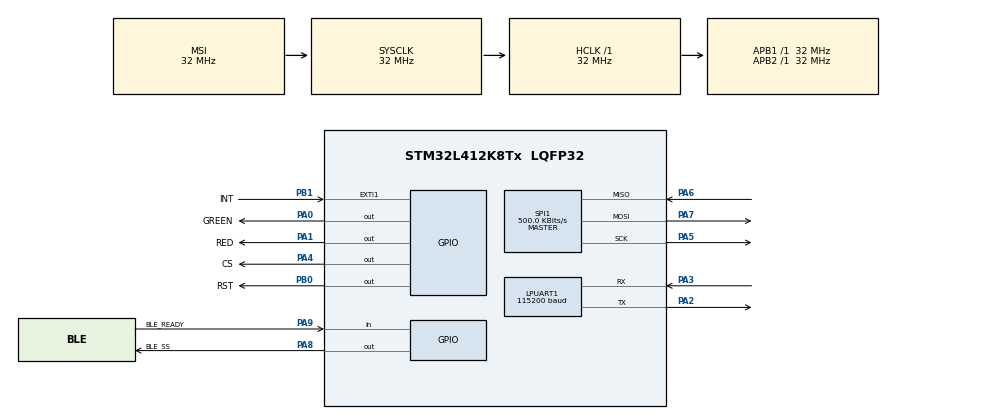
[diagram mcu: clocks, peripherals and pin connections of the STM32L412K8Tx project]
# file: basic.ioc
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LPUART1.BaudRate=115200
LPUART1.WordLength=UART_WORDLENGTH_8B
Mcu.Family=STM32L4
Mcu.Name=STM32L412K8Tx
Mcu.Package=LQFP32
NVIC.EXTI1_IRQn=true\:0\:0\:false\:false\:true\:true\:true
NVIC.PriorityGroup=NVIC_PRIORITYGROUP_4
NVIC.TIM2_IRQn=true\:0\:0\:false\:false\:true\:true\:true
NVIC.TIM6_IRQn=true\:0\:0\:false\:false\:true\:true\:true
PA0-CK_IN.GPIO_Label=GREEN
PA0-CK_IN.Signal=GPIO_Output
PA1.GPIO_Label=RED
PA1.Signal=GPIO_Output
PA13\ (JTMS/SWDIO).Mode=Serial_Wire
PA13\ (JTMS/SWDIO).Signal=SYS_JTMS-SWDIO
PA14\ (JTCK/SWCLK).Mode=Serial_Wire
PA14\ (JTCK/SWCLK).Signal=SYS_JTCK-SWCLK
PA2.Mode=Asynchronous
PA2.Signal=LPUART1_TX
PA3.Mode=Asynchronous
PA3.Signal=LPUART1_RX
PA4.GPIO_Label=CS
PA4.Signal=GPIO_Output
PA5.Mode=Full_Duplex_Master
PA5.Signal=SPI1_SCK
PA6.Mode=Full_Duplex_Master
PA6.Signal=SPI1_MISO
PA7.Mode=Full_Duplex_Master
PA7.Signal=SPI1_MOSI
PA8.GPIO_Label=BLE_SS
PA8.Signal=GPIO_Output
PA9.GPIO_Label=BLE_READY
PA9.Signal=GPIO_Input
PB0.GPIO_Label=RST
PB0.Signal=GPIO_Output
PB1.GPIO_Label=INT
PB1.Signal=GPXTI1
ProjectManager.HeapSize=0x200
ProjectManager.StackSize=0x400
ProjectManager.TargetToolchain=Makefile
RCC.ADCFreq_Value=32000000
RCC.AHBFreq_Value=32000000
RCC.APB1Freq_Value=32000000
RCC.APB1TimFreq_Value=32000000
RCC.APB2Freq_Value=32000000
RCC.APB2TimFreq_Value=32000000
RCC.CortexFreq_Value=32000000
RCC.HCLKFreq_Value=32000000
RCC.HSE_VALUE=8000000
RCC.HSI48_VALUE=48000000
RCC.HSI_VALUE=16000000
RCC.LSE_VALUE=32768
RCC.MSIClockRange=RCC_MSIRANGE_10
RCC.MSI_VALUE=32000000
RCC.SYSCLKFreq_VALUE=32000000
RCC.USBFreq_Value=32000000
RCC.VCOOutputFreq_Value=256000000
SPI1.BaudRatePrescaler=SPI_BAUDRATEPRESCALER_64
SPI1.CalculateBaudRate=500.0 KBits/s
SPI1.DataSize=SPI_DATASIZE_8BIT
SPI1.Direction=SPI_DIRECTION_2LINES
SPI1.Mode=SPI_MODE_MASTER
SPI1.NSSPMode=SPI_NSS_PULSE_ENABLE
SPI1.VirtualType=VM_MASTER
TIM2.Period=32000-1
TIM2.Prescaler=1000-1
TIM6.Period=1000-1
TIM6.Prescaler=32-1
VP_TIM2_VS_ClockSourceINT.Mode=Internal
VP_TIM6_VS_ClockSourceINT.Mode=Enable_Timer
board=custom

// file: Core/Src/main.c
/* USER CODE BEGIN Header */
/**
  ******************************************************************************
  * @file           : main.c
  * @brief          : Main program body
  ******************************************************************************
  * @attention
  *
  * <h2><center>&copy; Copyright (c) 2021 STMicroelectronics.
  * All rights reserved.</center></h2>
  *
  * This software component is licensed by ST under BSD 3-Clause license,
  * the "License"; You may not use this file except in compliance with the
  * License. You may obtain a copy of the License at:
  *                        opensource.org/licenses/BSD-3-Clause
  *
  ******************************************************************************
  */
/* USER CODE END Header */
#include "main.h"

/* USER CODE BEGIN Includes */
#include "Internet.h"
#include "AttenderAPI.h"
#include "Coder.h"
/* USER CODE END Includes */

/* USER CODE BEGIN PTD */

// first settings
int ClientCode = 1000;
char* apcode = "52120e85-2876-4a1a-9cf8-67fc73fbc081";

/* USER CODE END PTD */

UART_HandleTypeDef hlpuart1;

SPI_HandleTypeDef hspi1;

TIM_HandleTypeDef htim2;
TIM_HandleTypeDef htim6;

void SystemClock_Config(void);
static void MX_GPIO_Init(void);
static void MX_LPUART1_UART_Init(void);
static void MX_SPI1_Init(void);
static void MX_TIM2_Init(void);
static void MX_TIM6_Init(void);

/* USER CODE BEGIN 0 */

int _write(int file, char* p, int len)
{
    HAL_UART_Transmit(&hlpuart1,(uint8_t*)p,len,1000);
    return len;
}

int mode = 0;
/* USER CODE END 0 */
int main(void)
{

  /* MCU Configuration--------------------------------------------------------*/

  /* Reset of all peripherals, Initializes the Flash interface and the Systick. */
  HAL_Init();

  /* Configure the system clock */
  SystemClock_Config();

  /* USER CODE BEGIN SysInit */
  calibrate();
  /* USER CODE END SysInit */

  /* Initialize all configured peripherals */
  MX_GPIO_Init();
  MX_LPUART1_UART_Init();
  MX_SPI1_Init();
  MX_TIM2_Init();
  MX_TIM6_Init();
  /* USER CODE BEGIN 2 */
  extern BOOL isOnline;
  isOnline = -2;

  HAL_GPIO_WritePin(GPIOA,GPIO_PIN_8,GPIO_PIN_SET);
  HAL_TIM_Base_Start_IT(&htim6);
  HAL_TIM_Base_Start_IT(&htim2);

  MAC_ADDR myMAC = MACSet(0x16,0x07,0x47,0x88,0x68,0x98);

  Debug("start!\n");

  //if it is blocked here, Please make SPI lines stablized. It may stuck during the SPI progress.
  EC_Init(IPSet(0,0,0,0),IPSet(255,255,255,255),IPSet(192,168,0,1),myMAC,1);
  //EC_Init(IPSet(192,168,0,28),IPSet(255,255,255,255),IPSet(192,168,0,1),myMAC,0);

  /* USER CODE END 2 */

  /* Infinite loop */
  /* USER CODE BEGIN WHILE */
  while (1){

    //connecting process..
    Debug("connecting line...\n");

    uint32_t start = HAL_GetTick();
    while((HAL_GetTick()-start < 1000) && !(nic_is_linked))yield();
    if(!nic_is_linked)
    {
      Debug("nic is NOT linked...\n");
      nic_initialise(NIC_INIT_SPEED);
      Debug("nic was initalized.\n");
      continue;
    }
    else Debug("nic is linked!...\n");

    while((HAL_GetTick()-start < 60000) && !(nic_linked_and_ip_address_valid))yield();
    if(!nic_linked_and_ip_address_valid)
         Debug("Obtaining IP failed...\n");
    else Debug("It's online!\n");
    checkConnectivity(TRUE);

    if(isOnline == 0)continue;//retry internet.

    Debug("system start!\n");
    while (1)
    {
      if(isOnline == 0)break;//retry internet.

      //READ the Pin_READY. (0:waiting 1:free)
      if(HAL_GPIO_ReadPin(GPIOA,GPIO_PIN_9) == GPIO_PIN_RESET)
      {
        uint8_t txbuffer[8] = "this.TX";
        BLEInfo rxbuffer[1] = {0,};

        HAL_GPIO_WritePin(GPIOA,GPIO_PIN_8,GPIO_PIN_RESET);
        HAL_SPI_Receive(&hspi1, rxbuffer, sizeof(rxbuffer), 1000);
        HAL_GPIO_WritePin(GPIOA,GPIO_PIN_8,GPIO_PIN_SET);

        if(rxbuffer[0].AESData[0] != 0 && rxbuffer[0].AESData[1] != 0xFF)
        {
          Debug("BLE%d(%d)\n",rxbuffer[0].AESNo,rxbuffer[0].rssi);
          // Debug("AESNo : %d\3",rxbuffer[0].AESNo);
          // Debug("rssi  : %d\3",rxbuffer[0].rssi);
          // Debug("txPWR : %d\3",rxbuffer[0].txPower);

          // Debug("SPI SEND : %s\3",txbuffer);
          // uint8_t* pointer = rxbuffer;
          // Debug("{%02X %02X %02X %02X %02X %02X %02X %02X}\3"
          //   ,pointer[0],pointer[1],pointer[2],pointer[3]
          //   ,pointer[4],pointer[5],pointer[6],pointer[7]);
          Result res = BLEList_ProcessSensor(rxbuffer);
          Debug("BLEList_ProcessSensor %s \n",(res==SUCCEED?"Succeed":"failed"));
        }
      }
      //else Debug("empty line..\n");

      if(mode == 0)
      {
        mode = 3;
      }
      else if(mode == 2)
      {

      }
      else if(mode == 3 && isOnline)
      {
        Debug("Send_API_Echo~\n");
        mode = 1;
        if(isOnline)
        if(API_Echo() == FAILED)
          checkConnectivity(TRUE);

      }

    /* USER CODE END WHILE */

    /* USER CODE BEGIN 3 */
      yield();
    }
  }
  /* USER CODE END 3 */
}

void SystemClock_Config(void)
{
  RCC_OscInitTypeDef RCC_OscInitStruct = {0};
  RCC_ClkInitTypeDef RCC_ClkInitStruct = {0};
  RCC_PeriphCLKInitTypeDef PeriphClkInit = {0};

  /** Configure the main internal regulator output voltage
  */
  if (HAL_PWREx_ControlVoltageScaling(PWR_REGULATOR_VOLTAGE_SCALE1) != HAL_OK)
  {
    Error_Handler();
  }
  /** Initializes the RCC Oscillators according to the specified parameters
  * in the RCC_OscInitTypeDef structure.
  */
  RCC_OscInitStruct.OscillatorType = RCC_OSCILLATORTYPE_MSI;
  RCC_OscInitStruct.MSIState = RCC_MSI_ON;
  RCC_OscInitStruct.MSICalibrationValue = 0;
  RCC_OscInitStruct.MSIClockRange = RCC_MSIRANGE_10;
  RCC_OscInitStruct.PLL.PLLState = RCC_PLL_NONE;
  if (HAL_RCC_OscConfig(&RCC_OscInitStruct) != HAL_OK)
  {
    Error_Handler();
  }
  /** Initializes the CPU, AHB and APB buses clocks
  */
  RCC_ClkInitStruct.ClockType = RCC_CLOCKTYPE_HCLK|RCC_CLOCKTYPE_SYSCLK
                              |RCC_CLOCKTYPE_PCLK1|RCC_CLOCKTYPE_PCLK2;
  RCC_ClkInitStruct.SYSCLKSource = RCC_SYSCLKSOURCE_MSI;
  RCC_ClkInitStruct.AHBCLKDivider = RCC_SYSCLK_DIV1;
  RCC_ClkInitStruct.APB1CLKDivider = RCC_HCLK_DIV1;
  RCC_ClkInitStruct.APB2CLKDivider = RCC_HCLK_DIV1;

  if (HAL_RCC_ClockConfig(&RCC_ClkInitStruct, FLASH_LATENCY_1) != HAL_OK)
  {
    Error_Handler();
  }
  PeriphClkInit.PeriphClockSelection = RCC_PERIPHCLK_LPUART1;
  PeriphClkInit.Lpuart1ClockSelection = RCC_LPUART1CLKSOURCE_PCLK1;
  if (HAL_RCCEx_PeriphCLKConfig(&PeriphClkInit) != HAL_OK)
  {
    Error_Handler();
  }
}

static void MX_LPUART1_UART_Init(void)
{

  hlpuart1.Instance = LPUART1;
  hlpuart1.Init.BaudRate = 115200;
  hlpuart1.Init.WordLength = UART_WORDLENGTH_8B;
  hlpuart1.Init.StopBits = UART_STOPBITS_1;
  hlpuart1.Init.Parity = UART_PARITY_NONE;
  hlpuart1.Init.Mode = UART_MODE_TX_RX;
  hlpuart1.Init.HwFlowCtl = UART_HWCONTROL_NONE;
  hlpuart1.Init.OneBitSampling = UART_ONE_BIT_SAMPLE_DISABLE;
  hlpuart1.AdvancedInit.AdvFeatureInit = UART_ADVFEATURE_NO_INIT;
  if (HAL_UART_Init(&hlpuart1) != HAL_OK)
  {
    Error_Handler();
  }

}

static void MX_SPI1_Init(void)
{

  /* SPI1 parameter configuration*/
  hspi1.Instance = SPI1;
  hspi1.Init.Mode = SPI_MODE_MASTER;
  hspi1.Init.Direction = SPI_DIRECTION_2LINES;
  hspi1.Init.DataSize = SPI_DATASIZE_8BIT;
  hspi1.Init.CLKPolarity = SPI_POLARITY_LOW;
  hspi1.Init.CLKPhase = SPI_PHASE_1EDGE;
  hspi1.Init.NSS = SPI_NSS_SOFT;
  hspi1.Init.BaudRatePrescaler = SPI_BAUDRATEPRESCALER_64;
  hspi1.Init.FirstBit = SPI_FIRSTBIT_MSB;
  hspi1.Init.TIMode = SPI_TIMODE_DISABLE;
  hspi1.Init.CRCCalculation = SPI_CRCCALCULATION_DISABLE;
  hspi1.Init.CRCPolynomial = 7;
  hspi1.Init.CRCLength = SPI_CRC_LENGTH_DATASIZE;
  hspi1.Init.NSSPMode = SPI_NSS_PULSE_ENABLE;
  if (HAL_SPI_Init(&hspi1) != HAL_OK)
  {
    Error_Handler();
  }

}

static void MX_TIM2_Init(void)
{

  TIM_ClockConfigTypeDef sClockSourceConfig = {0};
  TIM_MasterConfigTypeDef sMasterConfig = {0};

  htim2.Instance = TIM2;
  htim2.Init.Prescaler = 1000-1;
  htim2.Init.CounterMode = TIM_COUNTERMODE_UP;
  htim2.Init.Period = 32000-1;
  htim2.Init.ClockDivision = TIM_CLOCKDIVISION_DIV1;
  htim2.Init.AutoReloadPreload = TIM_AUTORELOAD_PRELOAD_DISABLE;
  if (HAL_TIM_Base_Init(&htim2) != HAL_OK)
  {
    Error_Handler();
  }
  sClockSourceConfig.ClockSource = TIM_CLOCKSOURCE_INTERNAL;
  if (HAL_TIM_ConfigClockSource(&htim2, &sClockSourceConfig) != HAL_OK)
  {
    Error_Handler();
  }
  sMasterConfig.MasterOutputTrigger = TIM_TRGO_RESET;
  sMasterConfig.MasterSlaveMode = TIM_MASTERSLAVEMODE_DISABLE;
  if (HAL_TIMEx_MasterConfigSynchronization(&htim2, &sMasterConfig) != HAL_OK)
  {
    Error_Handler();
  }

}

static void MX_TIM6_Init(void)
{

  TIM_MasterConfigTypeDef sMasterConfig = {0};

  htim6.Instance = TIM6;
  htim6.Init.Prescaler = 32-1;
  htim6.Init.CounterMode = TIM_COUNTERMODE_UP;
  htim6.Init.Period = 1000-1;
  htim6.Init.AutoReloadPreload = TIM_AUTORELOAD_PRELOAD_DISABLE;
  if (HAL_TIM_Base_Init(&htim6) != HAL_OK)
  {
    Error_Handler();
  }
  sMasterConfig.MasterOutputTrigger = TIM_TRGO_RESET;
  sMasterConfig.MasterSlaveMode = TIM_MASTERSLAVEMODE_DISABLE;
  if (HAL_TIMEx_MasterConfigSynchronization(&htim6, &sMasterConfig) != HAL_OK)
  {
    Error_Handler();
  }

}

static void MX_GPIO_Init(void)
{
  GPIO_InitTypeDef GPIO_InitStruct = {0};

  /* GPIO Ports Clock Enable */
  __HAL_RCC_GPIOA_CLK_ENABLE();
  __HAL_RCC_GPIOB_CLK_ENABLE();

  /*Configure GPIO pin Output Level */
  HAL_GPIO_WritePin(GPIOA, GREEN_Pin|RED_Pin|CS_Pin|BLE_SS_Pin, GPIO_PIN_RESET);

  /*Configure GPIO pin Output Level */
  HAL_GPIO_WritePin(RST_GPIO_Port, RST_Pin, GPIO_PIN_RESET);

  /*Configure GPIO pins : GREEN_Pin RED_Pin CS_Pin BLE_SS_Pin */
  GPIO_InitStruct.Pin = GREEN_Pin|RED_Pin|CS_Pin|BLE_SS_Pin;
  GPIO_InitStruct.Mode = GPIO_MODE_OUTPUT_PP;
  GPIO_InitStruct.Pull = GPIO_NOPULL;
  GPIO_InitStruct.Speed = GPIO_SPEED_FREQ_LOW;
  HAL_GPIO_Init(GPIOA, &GPIO_InitStruct);

  /*Configure GPIO pin : RST_Pin */
  GPIO_InitStruct.Pin = RST_Pin;
  GPIO_InitStruct.Mode = GPIO_MODE_OUTPUT_PP;
  GPIO_InitStruct.Pull = GPIO_NOPULL;
  GPIO_InitStruct.Speed = GPIO_SPEED_FREQ_LOW;
  HAL_GPIO_Init(RST_GPIO_Port, &GPIO_InitStruct);

  /*Configure GPIO pin : INT_Pin */
  GPIO_InitStruct.Pin = INT_Pin;
  GPIO_InitStruct.Mode = GPIO_MODE_IT_RISING;
  GPIO_InitStruct.Pull = GPIO_NOPULL;
  HAL_GPIO_Init(INT_GPIO_Port, &GPIO_InitStruct);

  /*Configure GPIO pin : BLE_READY_Pin */
  GPIO_InitStruct.Pin = BLE_READY_Pin;
  GPIO_InitStruct.Mode = GPIO_MODE_INPUT;
  GPIO_InitStruct.Pull = GPIO_NOPULL;
  HAL_GPIO_Init(BLE_READY_GPIO_Port, &GPIO_InitStruct);

  /* EXTI interrupt init*/
  HAL_NVIC_SetPriority(EXTI1_IRQn, 0, 0);
  HAL_NVIC_EnableIRQ(EXTI1_IRQn);

}

void Error_Handler(void)
{
  __disable_irq();
  while (1)
  {
  }
}

#ifdef  USE_FULL_ASSERT
/**
  * @brief  Reports the name of the source file and the source line number
  *         where the assert_param error has occurred.
  * @param  file: pointer to the source file name
  * @param  line: assert_param error line source number
  * @retval None
  */
void assert_failed(uint8_t *file, uint32_t line)
{
  /* USER CODE BEGIN 6 */
  /* User can add his own implementation to report the file name and line number,
     ex: Debug("Wrong parameters value: file %s on line %d\r\n", file, line) */
  Debug("Wrong parameters value: file %s on line %ld\r\n", file, line);
  /* USER CODE END 6 */
}
#endif /* USE_FULL_ASSERT */

/************************ (C) COPYRIGHT STMicroelectronics *****END OF FILE****/
